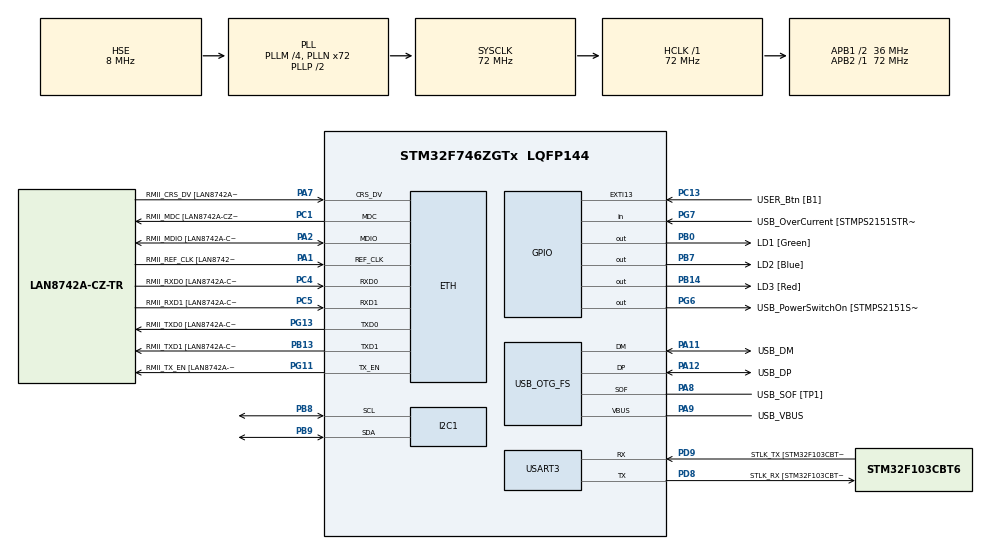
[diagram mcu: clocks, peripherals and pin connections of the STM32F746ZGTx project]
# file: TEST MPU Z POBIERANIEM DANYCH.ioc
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ETH.MediaInterface=HAL_ETH_RMII_MODE
ETH.PHY_Name=LAN8742A_PHY_ADDRESS
ETH.PHY_Value=0
ETH.PhyAddress=0
I2C1.Timing=0x00808CD2
Mcu.Family=STM32F7
Mcu.Name=STM32F746ZGTx
Mcu.Package=LQFP144
NVIC.PriorityGroup=NVIC_PRIORITYGROUP_4
PA1.GPIO_Label=RMII_REF_CLK [LAN8742A-CZ-TR_REFCLK0]
PA1.Mode=RMII
PA1.Signal=ETH_REF_CLK
PA10.GPIO_Label=USB_ID
PA10.Signal=USB_OTG_FS_ID
PA11.GPIO_Label=USB_DM
PA11.Mode=Device_Only
PA11.Signal=USB_OTG_FS_DM
PA12.GPIO_Label=USB_DP
PA12.Mode=Device_Only
PA12.Signal=USB_OTG_FS_DP
PA13.GPIO_Label=TMS
PA13.Mode=Serial_Wire
PA13.Signal=SYS_JTMS-SWDIO
PA14.GPIO_Label=TCK
PA14.Mode=Serial_Wire
PA14.Signal=SYS_JTCK-SWCLK
PA2.GPIO_Label=RMII_MDIO [LAN8742A-CZ-TR_MDIO]
PA2.Mode=RMII
PA2.Signal=ETH_MDIO
PA7.GPIO_Label=RMII_CRS_DV [LAN8742A-CZ-TR_CRS_DV]
PA7.Mode=RMII
PA7.Signal=ETH_CRS_DV
PA8.GPIO_Label=USB_SOF [TP1]
PA8.Mode=Activate_SOF_FS
PA8.Signal=USB_OTG_FS_SOF
PA9.GPIO_Label=USB_VBUS
PA9.Mode=Activate_VBUS
PA9.Signal=USB_OTG_FS_VBUS
PB0.GPIO_Label=LD1 [Green]
PB0.Signal=GPIO_Output
PB13.GPIO_Label=RMII_TXD1 [LAN8742A-CZ-TR_TXD1]
PB13.Mode=RMII
PB13.Signal=ETH_TXD1
PB14.GPIO_Label=LD3 [Red]
PB14.Signal=GPIO_Output
PB3.GPIO_Label=SW0
PB3.Signal=SYS_JTDO-SWO
PB7.GPIO_Label=LD2 [Blue]
PB7.Signal=GPIO_Output
PB8.Mode=I2C
PB8.Signal=I2C1_SCL
PB9.Mode=I2C
PB9.Signal=I2C1_SDA
PC1.GPIO_Label=RMII_MDC [LAN8742A-CZ-TR_MDC]
PC1.Mode=RMII
PC1.Signal=ETH_MDC
PC13.GPIO_Label=USER_Btn [B1]
PC13.Signal=GPXTI13
PC14/OSC32_IN.Mode=LSE-External-Oscillator
PC14/OSC32_IN.Signal=RCC_OSC32_IN
PC15/OSC32_OUT.Mode=LSE-External-Oscillator
PC15/OSC32_OUT.Signal=RCC_OSC32_OUT
PC4.GPIO_Label=RMII_RXD0 [LAN8742A-CZ-TR_RXD0]
PC4.Mode=RMII
PC4.Signal=ETH_RXD0
PC5.GPIO_Label=RMII_RXD1 [LAN8742A-CZ-TR_RXD1]
PC5.Mode=RMII
PC5.Signal=ETH_RXD1
PD8.GPIO_Label=STLK_RX [STM32F103CBT6_PA3]
PD8.GPIO_PuPd=GPIO_PULLUP
PD8.Mode=Asynchronous
PD8.Signal=USART3_TX
PD9.GPIO_Label=STLK_TX [STM32F103CBT6_PA2]
PD9.GPIO_PuPd=GPIO_PULLUP
PD9.Mode=Asynchronous
PD9.Signal=USART3_RX
PG11.GPIO_Label=RMII_TX_EN [LAN8742A-CZ-TR_TXEN]
PG11.Mode=RMII
PG11.Signal=ETH_TX_EN
PG13.GPIO_Label=RMII_TXD0 [LAN8742A-CZ-TR_TXD0]
PG13.Mode=RMII
PG13.Signal=ETH_TXD0
PG6.GPIO_Label=USB_PowerSwitchOn [STMPS2151STR_EN]
PG6.Signal=GPIO_Output
PG7.GPIO_Label=USB_OverCurrent [STMPS2151STR_FAULT]
PG7.Signal=GPIO_Input
PH0/OSC_IN.GPIO_Label=MCO [STM32F103CBT6_PA8]
PH0/OSC_IN.Mode=HSE-External-Clock-Source
PH0/OSC_IN.Signal=RCC_OSC_IN
PH1/OSC_OUT.Mode=HSE-External-Clock-Source
PH1/OSC_OUT.Signal=RCC_OSC_OUT
ProjectManager.HeapSize=0x200
ProjectManager.StackSize=0x400
ProjectManager.TargetToolchain=STM32CubeIDE
RCC.48MHZClocksFreq_Value=24000000
RCC.AHBFreq_Value=72000000
RCC.APB1CLKDivider=RCC_HCLK_DIV2
RCC.APB1Freq_Value=36000000
RCC.APB1TimFreq_Value=72000000
RCC.APB2Freq_Value=72000000
RCC.APB2TimFreq_Value=72000000
RCC.CortexFreq_Value=72000000
RCC.HCLKFreq_Value=72000000
RCC.HSE_VALUE=8000000
RCC.HSI_VALUE=16000000
RCC.PLLM=4
RCC.PLLMUL=RCC_PLL_MUL9
RCC.PLLN=72
RCC.PLLQ=3
RCC.PRESCALERUSB=RCC_USBCLKSOURCE_PLL_DIV1_5
RCC.SYSCLKFreq_VALUE=72000000
RCC.SYSCLKSource=RCC_SYSCLKSOURCE_PLLCLK
RCC.SYSCLKSourceVirtual=RCC_SYSCLKSOURCE_PLLCLK
RCC.USBFreq_Value=48000000
RCC.VCOOutputFreq_Value=144000000
USART3.VirtualMode-Asynchronous=VM_ASYNC
USB_OTG_FS.VirtualMode=Device_Only
board=NUCLEO-F746ZG

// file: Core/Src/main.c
/* USER CODE BEGIN Header */
/**
  ******************************************************************************
  * @file           : main.c
  * @brief          : Main program body
  ******************************************************************************
  * @attention
  *
  * Copyright (c) 2026 STMicroelectronics.
  * All rights reserved.
  *
  * This software is licensed under terms that can be found in the LICENSE file
  * in the root directory of this software component.
  * If no LICENSE file comes with this software, it is provided AS-IS.
  *
  ******************************************************************************
  */
/* USER CODE END Header */
#include "main.h"
#include "string.h"

/* USER CODE BEGIN Includes */
#include <stdio.h>  // Potrzebne do sprintf
/* USER CODE END Includes */

#if defined ( __ICCARM__ ) /*!< IAR Compiler */
#pragma location=0x2004c000
ETH_DMADescTypeDef  DMARxDscrTab[ETH_RX_DESC_CNT]; /* Ethernet Rx DMA Descriptors */
#pragma location=0x2004c0a0
ETH_DMADescTypeDef  DMATxDscrTab[ETH_TX_DESC_CNT]; /* Ethernet Tx DMA Descriptors */

#elif defined ( __CC_ARM )  /* MDK ARM Compiler */

__attribute__((at(0x2004c000))) ETH_DMADescTypeDef  DMARxDscrTab[ETH_RX_DESC_CNT]; /* Ethernet Rx DMA Descriptors */
__attribute__((at(0x2004c0a0))) ETH_DMADescTypeDef  DMATxDscrTab[ETH_TX_DESC_CNT]; /* Ethernet Tx DMA Descriptors */

#elif defined ( __GNUC__ ) /* GNU Compiler */

ETH_DMADescTypeDef DMARxDscrTab[ETH_RX_DESC_CNT] __attribute__((section(".RxDecripSection"))); /* Ethernet Rx DMA Descriptors */
ETH_DMADescTypeDef DMATxDscrTab[ETH_TX_DESC_CNT] __attribute__((section(".TxDecripSection")));   /* Ethernet Tx DMA Descriptors */
#endif

ETH_TxPacketConfig TxConfig;

ETH_HandleTypeDef heth;

I2C_HandleTypeDef hi2c1;

UART_HandleTypeDef huart3;

PCD_HandleTypeDef hpcd_USB_OTG_FS;

void SystemClock_Config(void);
static void MX_GPIO_Init(void);
static void MX_ETH_Init(void);
static void MX_I2C1_Init(void);
static void MX_USART3_UART_Init(void);
static void MX_USB_OTG_FS_PCD_Init(void);

int main(void)
{

  /* MCU Configuration--------------------------------------------------------*/

  /* Reset of all peripherals, Initializes the Flash interface and the Systick. */
  HAL_Init();

  /* Configure the system clock */
  SystemClock_Config();

  /* Initialize all configured peripherals */
  MX_GPIO_Init();
  MX_ETH_Init();
  MX_I2C1_Init();
  MX_USART3_UART_Init();
  MX_USB_OTG_FS_PCD_Init();
  /* USER CODE BEGIN 2 */
  // Adres czujnika przesunięty o 1 w lewo (dla HAL)
    const uint16_t BH1750_ADDR = (0x23 << 1);

    uint8_t buf[2];          // Bufor na dane z I2C
    uint16_t lux_raw;        // Surowa wartość 16-bitowa
    float lux_val;           // Przeliczona wartość w luksach
    char msg[50];            // Bufor na wiadomość UART

    // -- Inicjalizacja BH1750 --
    // Komenda 0x10: Continuous H-Resolution Mode (ciągły pomiar, wysoka rozdzielczość)
    uint8_t cmd = 0x10;

    // Najpierw musimy wysłać komendę "Power On" (0x01)
    uint8_t power_on = 0x01;
    HAL_I2C_Master_Transmit(&hi2c1, BH1750_ADDR, &power_on, 1, HAL_MAX_DELAY);
    HAL_Delay(10);

    // Ustawienie trybu pomiaru
    HAL_I2C_Master_Transmit(&hi2c1, BH1750_ADDR, &cmd, 1, HAL_MAX_DELAY);
    HAL_Delay(180); // Czas na pierwszy pomiar (max 180ms dla H-Res mode)
  /* USER CODE END 2 */

  /* Infinite loop */
  while (1)
  {

    /* USER CODE BEGIN 3 */
	  // 1. Odczyt 2 bajtów danych z czujnika
	      if (HAL_I2C_Master_Receive(&hi2c1, BH1750_ADDR, buf, 2, HAL_MAX_DELAY) == HAL_OK)
	      {
	          // 2. Sklejenie dwóch bajtów w jedną liczbę 16-bitową
	          // BH1750 wysyła najpierw High Byte, potem Low Byte (Big Endian)
	          lux_raw = (buf[0] << 8) | buf[1];

	          // 3. Konwersja na Luksy (według noty katalogowej dzielimy przez 1.2)
	          lux_val = (float)lux_raw / 1.2f;

	          // 4. Formatowanie danych do CSV dla łatwego importu w MATLABie
	          // Format: "Czas(opcjonalnie),Wartosc\r\n" lub po prostu "Wartosc\r\n"
	          // Używamy kropki jako separatora dziesiętnego
	          int len = sprintf(msg, "%.2f\r\n", lux_val);

	          // 5. Wysłanie przez UART do komputera
	          HAL_UART_Transmit(&huart3, (uint8_t*)msg, len, HAL_MAX_DELAY);
	      }
	      else
	      {
	      	// Obsługa błędu (opcjonalnie)
	      	HAL_UART_Transmit(&huart3, (uint8_t*)"Error\r\n", 7, HAL_MAX_DELAY);
	      }

	      HAL_Delay(1); // Częstotliwość próbkowania (np. co 0.5s)

  }
  /* USER CODE END 3 */
}

void SystemClock_Config(void)
{
  RCC_OscInitTypeDef RCC_OscInitStruct = {0};
  RCC_ClkInitTypeDef RCC_ClkInitStruct = {0};

  /** Configure LSE Drive Capability
  */
  HAL_PWR_EnableBkUpAccess();

  /** Configure the main internal regulator output voltage
  */
  __HAL_RCC_PWR_CLK_ENABLE();
  __HAL_PWR_VOLTAGESCALING_CONFIG(PWR_REGULATOR_VOLTAGE_SCALE3);

  /** Initializes the RCC Oscillators according to the specified parameters
  * in the RCC_OscInitTypeDef structure.
  */
  RCC_OscInitStruct.OscillatorType = RCC_OSCILLATORTYPE_HSE;
  RCC_OscInitStruct.HSEState = RCC_HSE_BYPASS;
  RCC_OscInitStruct.PLL.PLLState = RCC_PLL_ON;
  RCC_OscInitStruct.PLL.PLLSource = RCC_PLLSOURCE_HSE;
  RCC_OscInitStruct.PLL.PLLM = 4;
  RCC_OscInitStruct.PLL.PLLN = 72;
  RCC_OscInitStruct.PLL.PLLP = RCC_PLLP_DIV2;
  RCC_OscInitStruct.PLL.PLLQ = 3;
  if (HAL_RCC_OscConfig(&RCC_OscInitStruct) != HAL_OK)
  {
    Error_Handler();
  }

  /** Initializes the CPU, AHB and APB buses clocks
  */
  RCC_ClkInitStruct.ClockType = RCC_CLOCKTYPE_HCLK|RCC_CLOCKTYPE_SYSCLK
                              |RCC_CLOCKTYPE_PCLK1|RCC_CLOCKTYPE_PCLK2;
  RCC_ClkInitStruct.SYSCLKSource = RCC_SYSCLKSOURCE_PLLCLK;
  RCC_ClkInitStruct.AHBCLKDivider = RCC_SYSCLK_DIV1;
  RCC_ClkInitStruct.APB1CLKDivider = RCC_HCLK_DIV2;
  RCC_ClkInitStruct.APB2CLKDivider = RCC_HCLK_DIV1;

  if (HAL_RCC_ClockConfig(&RCC_ClkInitStruct, FLASH_LATENCY_2) != HAL_OK)
  {
    Error_Handler();
  }
}

static void MX_ETH_Init(void)
{

   static uint8_t MACAddr[6];

  heth.Instance = ETH;
  MACAddr[0] = 0x00;
  MACAddr[1] = 0x80;
  MACAddr[2] = 0xE1;
  MACAddr[3] = 0x00;
  MACAddr[4] = 0x00;
  MACAddr[5] = 0x00;
  heth.Init.MACAddr = &MACAddr[0];
  heth.Init.MediaInterface = HAL_ETH_RMII_MODE;
  heth.Init.TxDesc = DMATxDscrTab;
  heth.Init.RxDesc = DMARxDscrTab;
  heth.Init.RxBuffLen = 1524;

  if (HAL_ETH_Init(&heth) != HAL_OK)
  {
    Error_Handler();
  }

  memset(&TxConfig, 0 , sizeof(ETH_TxPacketConfig));
  TxConfig.Attributes = ETH_TX_PACKETS_FEATURES_CSUM | ETH_TX_PACKETS_FEATURES_CRCPAD;
  TxConfig.ChecksumCtrl = ETH_CHECKSUM_IPHDR_PAYLOAD_INSERT_PHDR_CALC;
  TxConfig.CRCPadCtrl = ETH_CRC_PAD_INSERT;

}

static void MX_I2C1_Init(void)
{

  hi2c1.Instance = I2C1;
  hi2c1.Init.Timing = 0x00808CD2;
  hi2c1.Init.OwnAddress1 = 0;
  hi2c1.Init.AddressingMode = I2C_ADDRESSINGMODE_7BIT;
  hi2c1.Init.DualAddressMode = I2C_DUALADDRESS_DISABLE;
  hi2c1.Init.OwnAddress2 = 0;
  hi2c1.Init.OwnAddress2Masks = I2C_OA2_NOMASK;
  hi2c1.Init.GeneralCallMode = I2C_GENERALCALL_DISABLE;
  hi2c1.Init.NoStretchMode = I2C_NOSTRETCH_DISABLE;
  if (HAL_I2C_Init(&hi2c1) != HAL_OK)
  {
    Error_Handler();
  }

  /** Configure Analogue filter
  */
  if (HAL_I2CEx_ConfigAnalogFilter(&hi2c1, I2C_ANALOGFILTER_ENABLE) != HAL_OK)
  {
    Error_Handler();
  }

  /** Configure Digital filter
  */
  if (HAL_I2CEx_ConfigDigitalFilter(&hi2c1, 0) != HAL_OK)
  {
    Error_Handler();
  }

}

static void MX_USART3_UART_Init(void)
{

  huart3.Instance = USART3;
  huart3.Init.BaudRate = 115200;
  huart3.Init.WordLength = UART_WORDLENGTH_8B;
  huart3.Init.StopBits = UART_STOPBITS_1;
  huart3.Init.Parity = UART_PARITY_NONE;
  huart3.Init.Mode = UART_MODE_TX_RX;
  huart3.Init.HwFlowCtl = UART_HWCONTROL_NONE;
  huart3.Init.OverSampling = UART_OVERSAMPLING_16;
  huart3.Init.OneBitSampling = UART_ONE_BIT_SAMPLE_DISABLE;
  huart3.AdvancedInit.AdvFeatureInit = UART_ADVFEATURE_NO_INIT;
  if (HAL_UART_Init(&huart3) != HAL_OK)
  {
    Error_Handler();
  }

}

static void MX_USB_OTG_FS_PCD_Init(void)
{

  hpcd_USB_OTG_FS.Instance = USB_OTG_FS;
  hpcd_USB_OTG_FS.Init.dev_endpoints = 6;
  hpcd_USB_OTG_FS.Init.speed = PCD_SPEED_FULL;
  hpcd_USB_OTG_FS.Init.dma_enable = DISABLE;
  hpcd_USB_OTG_FS.Init.phy_itface = PCD_PHY_EMBEDDED;
  hpcd_USB_OTG_FS.Init.Sof_enable = ENABLE;
  hpcd_USB_OTG_FS.Init.low_power_enable = DISABLE;
  hpcd_USB_OTG_FS.Init.lpm_enable = DISABLE;
  hpcd_USB_OTG_FS.Init.vbus_sensing_enable = ENABLE;
  hpcd_USB_OTG_FS.Init.use_dedicated_ep1 = DISABLE;
  if (HAL_PCD_Init(&hpcd_USB_OTG_FS) != HAL_OK)
  {
    Error_Handler();
  }

}

static void MX_GPIO_Init(void)
{
  GPIO_InitTypeDef GPIO_InitStruct = {0};

  /* GPIO Ports Clock Enable */
  __HAL_RCC_GPIOC_CLK_ENABLE();
  __HAL_RCC_GPIOH_CLK_ENABLE();
  __HAL_RCC_GPIOA_CLK_ENABLE();
  __HAL_RCC_GPIOB_CLK_ENABLE();
  __HAL_RCC_GPIOD_CLK_ENABLE();
  __HAL_RCC_GPIOG_CLK_ENABLE();

  /*Configure GPIO pin Output Level */
  HAL_GPIO_WritePin(GPIOB, LD1_Pin|LD3_Pin|LD2_Pin, GPIO_PIN_RESET);

  /*Configure GPIO pin Output Level */
  HAL_GPIO_WritePin(USB_PowerSwitchOn_GPIO_Port, USB_PowerSwitchOn_Pin, GPIO_PIN_RESET);

  /*Configure GPIO pin : USER_Btn_Pin */
  GPIO_InitStruct.Pin = USER_Btn_Pin;
  GPIO_InitStruct.Mode = GPIO_MODE_IT_RISING;
  GPIO_InitStruct.Pull = GPIO_NOPULL;
  HAL_GPIO_Init(USER_Btn_GPIO_Port, &GPIO_InitStruct);

  /*Configure GPIO pins : LD1_Pin LD3_Pin LD2_Pin */
  GPIO_InitStruct.Pin = LD1_Pin|LD3_Pin|LD2_Pin;
  GPIO_InitStruct.Mode = GPIO_MODE_OUTPUT_PP;
  GPIO_InitStruct.Pull = GPIO_NOPULL;
  GPIO_InitStruct.Speed = GPIO_SPEED_FREQ_LOW;
  HAL_GPIO_Init(GPIOB, &GPIO_InitStruct);

  /*Configure GPIO pin : USB_PowerSwitchOn_Pin */
  GPIO_InitStruct.Pin = USB_PowerSwitchOn_Pin;
  GPIO_InitStruct.Mode = GPIO_MODE_OUTPUT_PP;
  GPIO_InitStruct.Pull = GPIO_NOPULL;
  GPIO_InitStruct.Speed = GPIO_SPEED_FREQ_LOW;
  HAL_GPIO_Init(USB_PowerSwitchOn_GPIO_Port, &GPIO_InitStruct);

  /*Configure GPIO pin : USB_OverCurrent_Pin */
  GPIO_InitStruct.Pin = USB_OverCurrent_Pin;
  GPIO_InitStruct.Mode = GPIO_MODE_INPUT;
  GPIO_InitStruct.Pull = GPIO_NOPULL;
  HAL_GPIO_Init(USB_OverCurrent_GPIO_Port, &GPIO_InitStruct);

}

void Error_Handler(void)
{
  __disable_irq();
  while (1)
  {
  }
}
